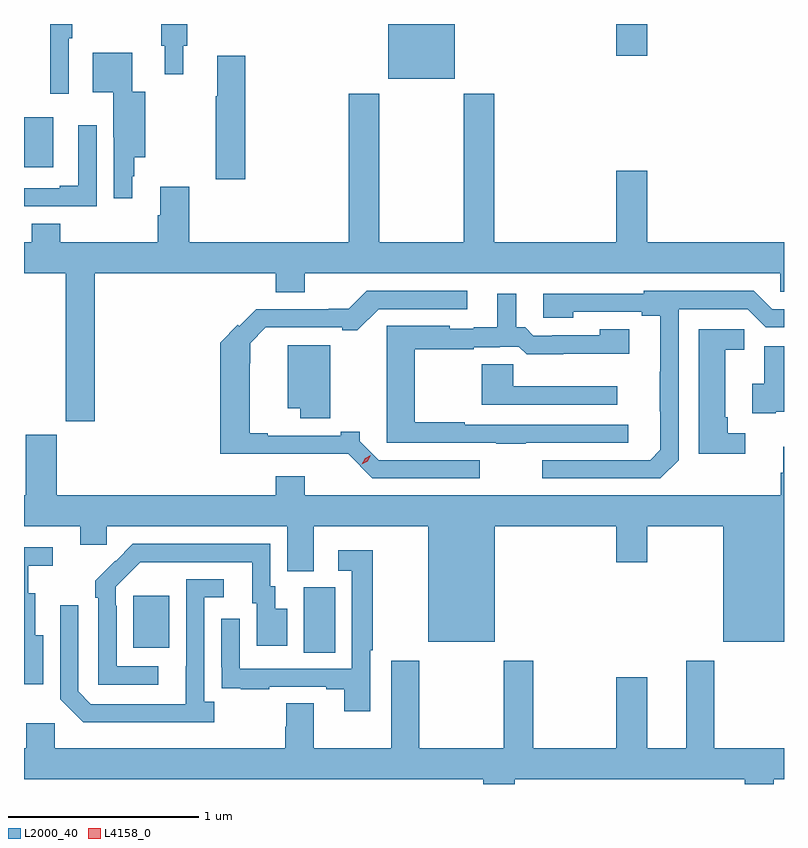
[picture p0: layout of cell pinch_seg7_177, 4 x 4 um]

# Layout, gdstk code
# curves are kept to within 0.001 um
import gdstk
lib = gdstk.Library(unit=1e-6, precision=1e-09)
def R(c, l, rs):  # rectangles x0, y0, x1, y1
    for r in rs: c.add(gdstk.rectangle(r[:2], r[2:], *l))
def P(c, l, *ps):  # polygons
    for p in ps: c.add(gdstk.Polygon(p, *l))
L2000_40 = (2000, 40)
L4158_0 = (4158, 0)

pinch_seg7_177 = lib.new_cell('pinch_seg7_177')
R(pinch_seg7_177, L2000_40, [(1122.404,1002.616,1122.568,1002.96), (1121.507,1002.641,1121.695,1002.916), (1120.931,1005.17,1121.086,1005.433), (1122.848,1005.635,1123.198,1005.924), (1124.048,1005.756,1124.212,1005.924)])
P(pinch_seg7_177, L2000_40, [(1121.77,1005.81),(1121.789,1005.81),(1121.789,1005.924),(1121.653,1005.924),(1121.653,1005.81),(1121.672,1005.81),(1121.672,1005.66),(1121.77,1005.66)],
  [(1121.166,1005.848),(1121.186,1005.848),(1121.186,1005.924),(1121.069,1005.924),(1121.069,1005.558),(1121.166,1005.558)],
  [(1121.5,1005.123),(1121.512,1005.123),(1121.512,1005.224),(1121.568,1005.224),(1121.568,1005.568),(1121.5,1005.568),(1121.5,1005.772),(1121.294,1005.772),(1121.294,1005.566),(1121.402,1005.566),(1121.402,1005.328),(1121.403,1005.328),(1121.403,1005.006),(1121.5,1005.006)],
  [(1122.095,1005.757),(1121.948,1005.757),(1121.948,1005.544),(1121.941,1005.544),(1121.941,1005.108),(1122.095,1005.108)],
  [(1121.313,1005.391),(1121.216,1005.391),(1121.216,1005.073),(1121.12,1005.073),(1121.12,1005.06),(1120.931,1005.06),(1120.931,1004.964),(1121.313,1004.964)],
  [(1124.048,1005.151),(1124.048,1004.776),(1123.406,1004.776),(1123.406,1005.556),(1123.246,1005.556),(1123.246,1004.776),(1122.801,1004.776),(1122.801,1005.556),(1122.641,1005.556),(1122.641,1004.776),(1121.801,1004.776),(1121.801,1005.067),(1121.648,1005.067),(1121.648,1004.918),(1121.636,1004.918),(1121.636,1004.776),(1121.123,1004.776),(1121.123,1004.874),(1120.971,1004.874),(1120.971,1004.776),(1120.931,1004.776),(1120.931,1004.612),(1121.15,1004.612),(1121.15,1003.833),(1121.303,1003.833),(1121.303,1004.612),(1122.257,1004.612),(1122.257,1004.513),(1122.409,1004.513),(1122.409,1004.612),(1124.91,1004.612),(1124.91,1004.514),(1124.931,1004.514),(1124.931,1004.776),(1124.212,1004.776),(1124.212,1005.151)],
  [(1123.33,1003.629),(1122.798,1003.629),(1122.699,1003.728),(1122.699,1003.778),(1122.599,1003.778),(1122.599,1003.758),(1122.214,1003.758),(1122.214,1003.771),(1122.118,1003.771),(1122.118,1004.138),(1122.121,1004.138),(1122.121,1004.245),(1122.204,1004.328),(1122.605,1004.328),(1122.605,1004.312),(1122.686,1004.312),(1122.798,1004.424),(1123.264,1004.424),(1123.264,1004.52),(1122.735,1004.52),(1122.641,1004.426),(1122.536,1004.426),(1122.536,1004.424),(1122.153,1004.424),(1122.063,1004.334),(1122.056,1004.341),(1121.963,1004.247),(1121.963,1003.662),(1122.638,1003.661),(1122.765,1003.533),(1123.33,1003.533)],
  [(1124.376,1003.629),(1124.376,1004.424),(1124.739,1004.424),(1124.835,1004.328),(1124.931,1004.328),(1124.931,1004.424),(1124.868,1004.424),(1124.772,1004.52),(1124.193,1004.52),(1124.193,1004.505),(1123.665,1004.505),(1123.665,1004.378),(1123.821,1004.378),(1123.821,1004.409),(1124.183,1004.409),(1124.183,1004.389),(1124.279,1004.389),(1124.279,1003.682),(1124.226,1003.629),(1123.659,1003.629),(1123.659,1003.533),(1124.28,1003.533)],
  [(1123.571,1003.719),(1124.11,1003.719),(1124.11,1003.815),(1123.25,1003.815),(1123.25,1003.828),(1122.987,1003.828),(1122.987,1004.211),(1123.299,1004.211),(1123.299,1004.223),(1123.436,1004.223),(1123.436,1004.226),(1123.536,1004.226),(1123.576,1004.187),(1123.769,1004.187),(1123.769,1004.189),(1124.116,1004.189),(1124.116,1004.317),(1123.96,1004.317),(1123.96,1004.286),(1123.711,1004.286),(1123.711,1004.283),(1123.611,1004.283),(1123.568,1004.327),(1123.522,1004.327),(1123.522,1004.503),(1123.421,1004.503),(1123.421,1004.327),(1123.299,1004.327),(1123.299,1004.319),(1123.173,1004.319),(1123.173,1004.335),(1122.839,1004.335),(1122.839,1003.719),(1123.417,1003.719),(1123.417,1003.714),(1123.571,1003.714)],
  [(1124.728,1003.771),(1124.636,1003.771),(1124.636,1003.855),(1124.623,1003.855),(1124.623,1004.209),(1124.722,1004.209),(1124.722,1004.318),(1124.483,1004.318),(1124.483,1003.661),(1124.728,1003.661)],
  [(1122.544,1004.233),(1122.32,1004.233),(1122.32,1003.901),(1122.386,1003.901),(1122.386,1003.848),(1122.544,1003.848)],
  [(1124.888,1003.883),(1124.931,1003.883),(1124.931,1004.227),(1124.828,1004.227),(1124.828,1004.031),(1124.763,1004.031),(1124.763,1003.876),(1124.888,1003.876)],
  [(1124.053,1004.017),(1123.505,1004.017),(1123.505,1004.134),(1123.339,1004.134),(1123.339,1003.92),(1124.053,1003.92)],
  [(1123.408,1003.28),(1124.048,1003.28),(1124.048,1003.092),(1124.212,1003.092),(1124.212,1003.28),(1124.612,1003.28),(1124.612,1002.674),(1124.931,1002.674),(1124.931,1003.699),(1124.927,1003.699),(1124.927,1003.563),(1124.915,1003.563),(1124.915,1003.444),(1122.409,1003.444),(1122.409,1003.543),(1122.257,1003.543),(1122.257,1003.444),(1121.104,1003.444),(1121.104,1003.761),(1120.94,1003.761),(1120.94,1003.444),(1120.931,1003.444),(1120.931,1003.28),(1121.228,1003.28),(1121.228,1003.182),(1121.367,1003.182),(1121.367,1003.28),(1122.317,1003.28),(1122.317,1003.045),(1122.457,1003.045),(1122.457,1003.28),(1123.058,1003.28),(1123.058,1002.674),(1123.408,1002.674)],
  [(1121.638,1002.543),(1121.418,1002.543),(1121.418,1002.863),(1121.415,1002.863),(1121.415,1002.963),(1121.544,1003.092),(1122.131,1003.092),(1122.131,1002.876),(1122.155,1002.876),(1122.155,1002.651),(1122.316,1002.651),(1122.316,1002.847),(1122.253,1002.847),(1122.253,1002.966),(1122.228,1002.966),(1122.228,1003.188),(1121.504,1003.188),(1121.307,1002.993),(1121.307,1002.905),(1121.322,1002.905),(1121.322,1002.447),(1121.638,1002.447)],
  [(1121.032,1002.706),(1120.99,1002.706),(1120.99,1002.928),(1120.954,1002.928),(1120.954,1003.073),(1121.083,1003.073),(1121.083,1003.17),(1120.931,1003.17),(1120.931,1002.449),(1121.032,1002.449)],
  [(1122.753,1002.628),(1122.766,1002.628),(1122.766,1003.153),(1122.585,1003.153),(1122.585,1003.047),(1122.657,1003.047),(1122.657,1002.531),(1122.066,1002.531),(1122.066,1002.793),(1121.97,1002.793),(1121.97,1002.538),(1121.971,1002.538),(1121.971,1002.429),(1122.073,1002.429),(1122.073,1002.423),(1122.221,1002.423),(1122.221,1002.435),(1122.521,1002.435),(1122.521,1002.423),(1122.617,1002.423),(1122.617,1002.306),(1122.753,1002.306)],
  [(1121.932,1002.358),(1121.88,1002.358),(1121.88,1002.906),(1121.983,1002.906),(1121.983,1003.002),(1121.784,1003.002),(1121.783,1002.345),(1121.283,1002.345),(1121.217,1002.411),(1121.217,1002.865),(1121.121,1002.865),(1121.121,1002.369),(1121.242,1002.248),(1121.932,1002.248)],
  [(1124.565,1002.574),(1124.417,1002.574),(1124.417,1002.112),(1124.212,1002.112),(1124.212,1002.487),(1124.048,1002.487),(1124.048,1002.112),(1123.611,1002.112),(1123.611,1002.574),(1123.456,1002.574),(1123.456,1002.112),(1123.011,1002.112),(1123.011,1002.574),(1122.863,1002.574),(1122.863,1002.112),(1122.457,1002.112),(1122.457,1002.35),(1122.31,1002.35),(1122.31,1002.225),(1122.305,1002.225),(1122.305,1002.112),(1121.094,1002.112),(1121.094,1002.244),(1120.943,1002.244),(1120.943,1002.112),(1120.931,1002.112),(1120.931,1001.948),(1123.349,1001.948),(1123.349,1001.924),(1123.514,1001.924),(1123.514,1001.948),(1124.724,1001.948),(1124.724,1001.924),(1124.876,1001.924),(1124.876,1001.948),(1124.931,1001.948),(1124.931,1002.112),(1124.565,1002.112)])
P(pinch_seg7_177, L4158_0, [(1122.709,1003.608),(1122.709,1003.608),(1122.726,1003.638),(1122.757,1003.655),(1122.757,1003.655),(1122.757,1003.654),(1122.74,1003.624),(1122.709,1003.608)])

lib.write_gds('pinch_seg7_177.gds')
